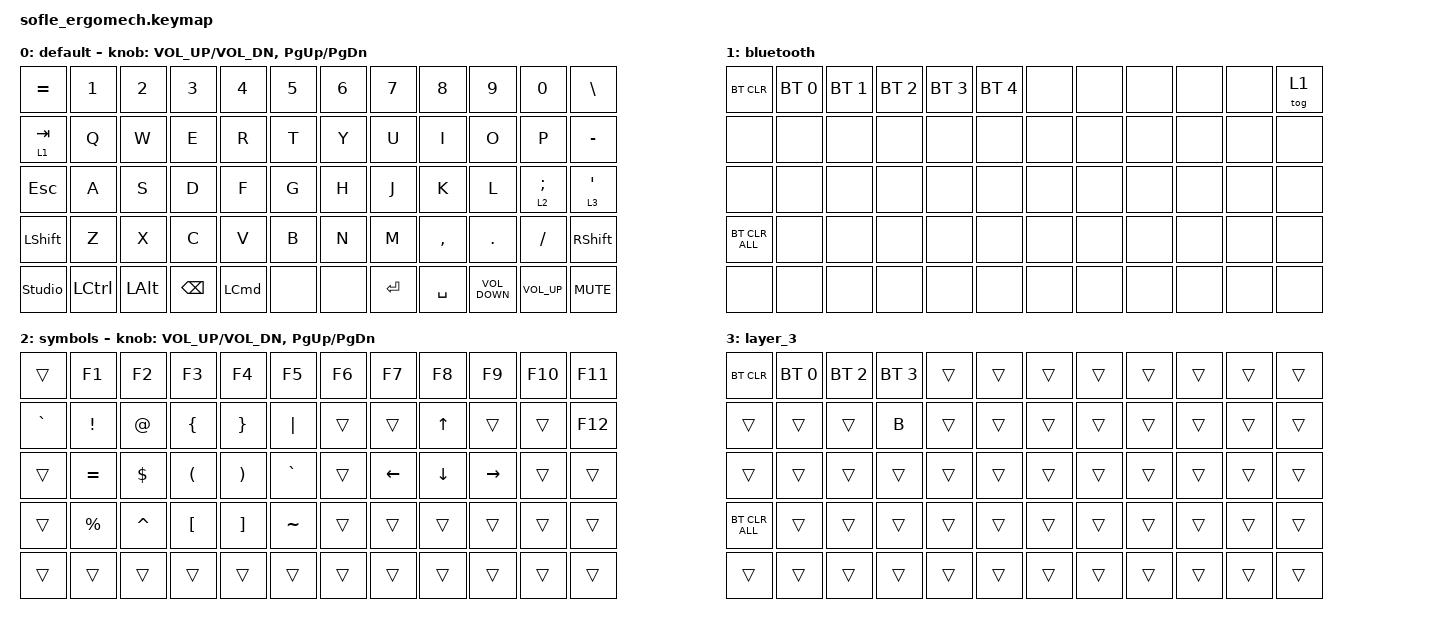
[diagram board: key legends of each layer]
/*
 * Copyright (c) 2020 The ZMK Contributors
 *
 * SPDX-License-Identifier: MIT
 */

#include <behaviors.dtsi>
#include <dt-bindings/zmk/bt.h>
#include <dt-bindings/zmk/keys.h>

#define BASE 0
#define LOWER 1
#define RAISE 2
#define ADJUST 3

/ {
    keymap {
        compatible = "zmk,keymap";

        default_layer {
            display-name = "default";

            // ------------------------------------------------------------------------------------------------------------
            // |   `   |  1  |  2  |  3   |  4   |  5   |                   |  6   |  7    |  8    |  9   |   0   |       |
            // |  ESC  |  Q  |  W  |  E   |  R   |  T   |                   |  Y   |  U    |  I    |  O   |   P   | BKSPC |
            // |  TAB  |  A  |  S  |  D   |  F   |  G   |                   |  H   |  J    |  K    |  L   |   ;   |   '   |
            // | SHIFT |  Z  |  X  |  C   |  V   |  B   |  MUTE  |  |       |  N   |  M    |  ,    |  .   |   /   | SHIFT |
            //               | GUI | ALT  | CTRL | LOWER|  ENTER |  | SPACE | RAISE| CTRL  | ALT   | GUI  |

            bindings = <
&kp EQUAL       &kp N1            &kp N2        &kp N3         &kp N4            &kp N5  &kp N6  &kp N7     &kp N8     &kp N9             &kp N0           &kp BACKSLASH
&lt 1 TAB       &kp Q             &kp W         &kp E          &kp R             &kp T   &kp Y   &kp U      &kp I      &kp O              &kp P            &kp MINUS
&kp ESCAPE      &kp A             &kp S         &kp D          &kp F             &kp G   &kp H   &kp J      &kp K      &kp L              &lt 2 SEMICOLON  &lt 3 SQT
&kp LSHFT       &kp Z             &kp X         &kp C          &kp V             &kp B   &kp N   &kp M      &kp COMMA  &kp PERIOD         &kp SLASH        &kp RIGHT_SHIFT
&studio_unlock  &kp LEFT_CONTROL  &kp LEFT_ALT  &kp BACKSPACE  &kp LEFT_COMMAND  &none   &none   &kp ENTER  &kp SPACE  &kp C_VOLUME_DOWN  &kp C_VOLUME_UP  &kp K_MUTE
            >;

            sensor-bindings = <&inc_dec_kp C_VOL_UP C_VOL_DN &inc_dec_kp PG_UP PG_DN>;
        };

        bluetooth_layer {
            // ----------------------------------------------------------------------------------------------------------------------------
            // | BTCLR  |  BT1    |  BT2    |   BT3   |   BT4   |   BT5   |                  |      |      |       |      |       |       |
            // | EXTPWR | RGB_HUD | RGB_HUI | RGB_SAD | RGB_SAI | RGB_EFF |                  |      |      |       |      |       |       |
            // |        | RGB_BRD | RGB_BRI |         |         |         |                  |      |      |       |      |       |       |
            // |        |         |         |         |         |         | RGB_TOG | |      |      |      |       |      |       |       |
            //                    |         |         |         |         |         | |      |      |      |       |      |

            display-name = "bluetooth";
            bindings = <
&bt BT_CLR      &bt BT_SEL 0  &bt BT_SEL 1  &bt BT_SEL 2  &bt BT_SEL 3  &bt BT_SEL 4  &none  &none  &none  &none  &none  &tog 1
&none           &none         &none         &none         &none         &none         &none  &none  &none  &none  &none  &none
&none           &none         &none         &none         &none         &none         &none  &none  &none  &none  &none  &none
&bt BT_CLR_ALL  &none         &none         &none         &none         &none         &none  &none  &none  &none  &none  &none
&none           &none         &none         &none         &none         &none         &none  &none  &none  &none  &none  &none
            >;
        };

        symbols_layer {
            display-name = "symbols";

            // TODO: Some binds are waiting for shifted keycode support.
            // ------------------------------------------------------------------------------------------------------------
            // |       |  F1 |  F2 |  F3  |  F4  |  F5  |                   |  F6  |  F7   |  F8   |  F9  |  F10  |  F11  |
            // |   `   |  1  |  2  |  3   |  4   |  5   |                   |  6   |  7    |  8    |  9   |   0   |  F12  |
            // |       |  !  |  @  |  #   |  $   |  %   |                   |  ^   |  &    |  *    |  (   |   )   |   |   |
            // |       |  =  |  -  |  +   |  {   |  }   |        |  |       |  [   |  ]    |  ;    |  :   |   \   |       |
            //               |     |      |      |      |        |  |       |      |       |       |      |

            bindings = <
&trans     &kp F1           &kp F2      &kp F3                &kp F4                 &kp F5     &kp F6  &kp F7    &kp F8        &kp F9     &kp F10  &kp F11
&kp GRAVE  &kp EXCLAMATION  &kp AT      &kp LEFT_BRACE        &kp RIGHT_BRACE        &kp PIPE   &trans  &trans    &kp UP_ARROW  &trans     &trans   &kp F12
&trans     &kp EQUAL        &kp DOLLAR  &kp LEFT_PARENTHESIS  &kp RIGHT_PARENTHESIS  &kp GRAVE  &trans  &kp LEFT  &kp DOWN      &kp RIGHT  &trans   &trans
&trans     &kp PERCENT      &kp CARET   &kp LEFT_BRACKET      &kp RIGHT_BRACKET      &kp TILDE  &trans  &trans    &trans        &trans     &trans   &trans
&trans     &trans           &trans      &trans                &trans                 &trans     &trans  &trans    &trans        &trans     &trans   &trans
            >;

            sensor-bindings = <&inc_dec_kp C_VOL_UP C_VOL_DN &inc_dec_kp PG_UP PG_DN>;
        };

        layer_3 {
            bindings = <
&bt BT_CLR      &bt BT_SEL 0  &bt BT_SEL 2  &bt BT_SEL 3  &trans  &trans  &trans  &trans  &trans  &trans  &trans  &trans
&trans          &trans        &trans        &kp B         &trans  &trans  &trans  &trans  &trans  &trans  &trans  &trans
&trans          &trans        &trans        &trans        &trans  &trans  &trans  &trans  &trans  &trans  &trans  &trans
&bt BT_CLR_ALL  &trans        &trans        &trans        &trans  &trans  &trans  &trans  &trans  &trans  &trans  &trans
&trans          &trans        &trans        &trans        &trans  &trans  &trans  &trans  &trans  &trans  &trans  &trans
            >;
        };
    };
};
